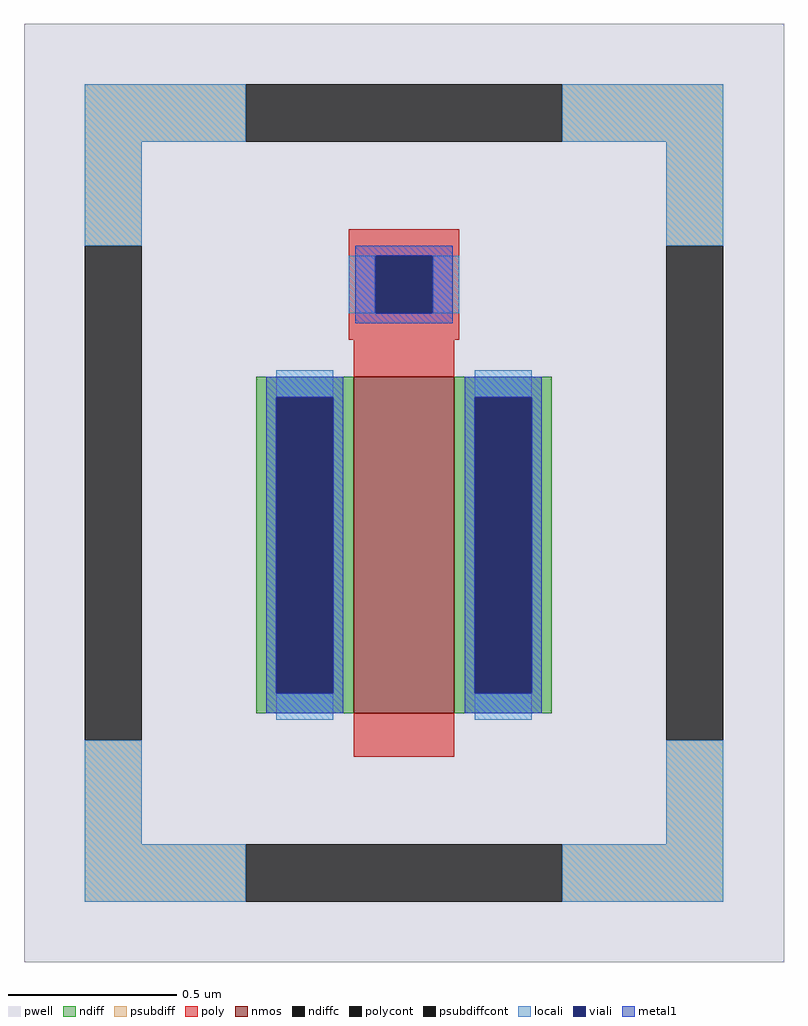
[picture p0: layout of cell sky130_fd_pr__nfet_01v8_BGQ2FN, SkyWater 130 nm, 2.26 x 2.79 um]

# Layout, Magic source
magic
tech sky130A
magscale 1 2
<< pwell >>
rect -226 -279 226 279
<< nmos >>
rect -30 -131 30 69
<< ndiff >>
rect -88 57 -30 69
rect -88 -119 -76 57
rect -42 -119 -30 57
rect -88 -131 -30 -119
rect 30 57 88 69
rect 30 -119 42 57
rect 76 -119 88 57
rect 30 -131 88 -119
<< ndiffc >>
rect -76 -119 -42 57
rect 42 -119 76 57
<< psubdiff >>
rect -190 209 -94 243
rect 94 209 190 243
rect -190 147 -156 209
rect 156 147 190 209
rect -190 -209 -156 -147
rect 156 -209 190 -147
rect -190 -243 -94 -209
rect 94 -243 190 -209
<< psubdiffcont >>
rect -94 209 94 243
rect -190 -147 -156 147
rect 156 -147 190 147
rect -94 -243 94 -209
<< poly >>
rect -33 141 33 157
rect -33 107 -17 141
rect 17 107 33 141
rect -33 91 33 107
rect -30 69 30 91
rect -30 -157 30 -131
<< polycont >>
rect -17 107 17 141
<< locali >>
rect -190 209 -94 243
rect 94 209 190 243
rect -190 147 -156 209
rect 156 147 190 209
rect -33 107 -17 141
rect 17 107 33 141
rect -76 57 -42 73
rect -76 -135 -42 -119
rect 42 57 76 73
rect 42 -135 76 -119
rect -190 -209 -156 -147
rect 156 -209 190 -147
rect -190 -243 -94 -209
rect 94 -243 190 -209
<< viali >>
rect -17 107 17 141
rect -76 -119 -42 57
rect 42 -119 76 57
<< metal1 >>
rect -29 141 29 147
rect -29 107 -17 141
rect 17 107 29 141
rect -29 101 29 107
rect -82 57 -36 69
rect -82 -119 -76 57
rect -42 -119 -36 57
rect -82 -131 -36 -119
rect 36 57 82 69
rect 36 -119 42 57
rect 76 -119 82 57
rect 36 -131 82 -119
<< properties >>
string gencell sky130_fd_pr__nfet_01v8
string FIXED_BBOX -173 -226 173 226
string parameters w 1 l 0.3 m 1 nf 1 diffcov 100 polycov 60 guard 1 glc 1 grc 1 gtc 1 gbc 1 tbcov 100 rlcov 100 topc 1 botc 0 poverlap 0 doverlap 1 lmin 0.15 wmin 0.42 compatible {sky130_fd_pr__nfet_01v8 sky130_fd_pr__nfet_01v8_lvt  sky130_fd_bs_flash__special_sonosfet_star  sky130_fd_pr__nfet_g5v0d10v5 sky130_fd_pr__nfet_05v0_nvt  sky130_fd_pr__nfet_03v3_nvt} full_metal 1 viasrc 100 viadrn 100 viagate 50 viagb 0 viagr 0 viagl 0 viagt 0
string library sky130
<< end >>
